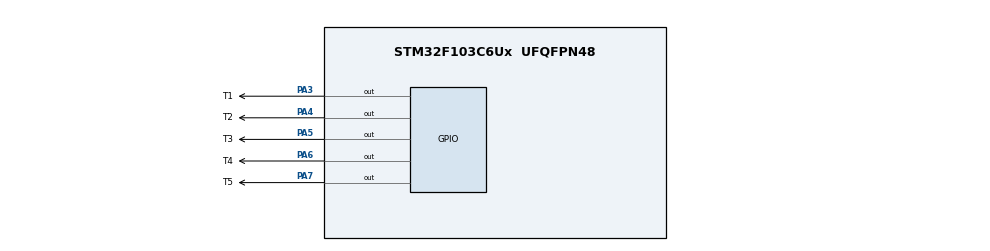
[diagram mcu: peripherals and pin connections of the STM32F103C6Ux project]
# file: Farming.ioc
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Mcu.Family=STM32F1
Mcu.Name=STM32F103C6Ux
Mcu.Package=UFQFPN48
NVIC.PriorityGroup=NVIC_PRIORITYGROUP_4
NVIC.TIM2_IRQn=true\:0\:0\:false\:false\:true\:true\:true
PA3.GPIO_Label=T1
PA3.Signal=GPIO_Output
PA4.GPIO_Label=T2
PA4.Signal=GPIO_Output
PA5.GPIO_Label=T3
PA5.Signal=GPIO_Output
PA6.GPIO_Label=T4
PA6.Signal=GPIO_Output
PA7.GPIO_Label=T5
PA7.Signal=GPIO_Output
ProjectManager.HeapSize=0x200
ProjectManager.StackSize=0x400
ProjectManager.TargetToolchain=STM32CubeIDE
RCC.APB1Freq_Value=8000000
RCC.APB2Freq_Value=8000000
TIM2.Period=9
TIM2.Prescaler=7999
VP_SYS_VS_ND.Mode=No_Debug
VP_TIM2_VS_ClockSourceINT.Mode=Internal
board=custom

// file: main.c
/* USER CODE BEGIN Header */
/**
  ******************************************************************************
  * @file           : main.c
  * @brief          : Main program body
  ******************************************************************************
  * @attention
  *
  * <h2><center>&copy; Copyright (c) 2024 STMicroelectronics.
  * All rights reserved.</center></h2>
  *
  * This software component is licensed by ST under BSD 3-Clause license,
  * the "License"; You may not use this file except in compliance with the
  * License. You may obtain a copy of the License at:
  *                        opensource.org/licenses/BSD-3-Clause
  *
  ******************************************************************************
  */
/* USER CODE END Header */
#include "main.h"

/* USER CODE BEGIN Includes */
#include "scheduler.h"
#include "software_timer.h"
/* USER CODE END Includes */

/* USER CODE BEGIN PD */
#define INIT 0
#define T1 1
#define T2 2
#define T3 3
#define T4 4
#define T5 5
#define IDLE 6
/* USER CODE END PD */

TIM_HandleTypeDef htim2;

/* USER CODE BEGIN PV */
int status = INIT;
/* USER CODE END PV */

void SystemClock_Config(void);
static void MX_GPIO_Init(void);
static void MX_TIM2_Init(void);
/* USER CODE BEGIN PFP */

void clear(){
	HAL_GPIO_WritePin(T1_GPIO_Port, T1_Pin, GPIO_PIN_SET);
	HAL_GPIO_WritePin(T2_GPIO_Port, T2_Pin, GPIO_PIN_SET);
	HAL_GPIO_WritePin(T3_GPIO_Port, T3_Pin, GPIO_PIN_SET);
	HAL_GPIO_WritePin(T4_GPIO_Port, T4_Pin, GPIO_PIN_SET);
	HAL_GPIO_WritePin(T5_GPIO_Port, T5_Pin, GPIO_PIN_SET);
}

void fsm(){
	switch (status){
		case INIT:
				clear();
				status = T1;
				setTimer(0, 5000);
				break;
		case T1:
				HAL_GPIO_WritePin(T1_GPIO_Port, T1_Pin, GPIO_PIN_RESET);
				if (isTimerExpired(0) == 1){
					HAL_GPIO_WritePin(T1_GPIO_Port, T1_Pin, GPIO_PIN_SET);
					status = T2;
					setTimer(0, 5000);
				}
				break;
		case T2:
				HAL_GPIO_WritePin(T2_GPIO_Port, T2_Pin, GPIO_PIN_RESET);
				if (isTimerExpired(0) == 1){
					HAL_GPIO_WritePin(T2_GPIO_Port, T2_Pin, GPIO_PIN_SET);
					status = T3;
					setTimer(0, 5000);
				}
				break;
		case T3:
				HAL_GPIO_WritePin(T3_GPIO_Port, T3_Pin, GPIO_PIN_RESET);
				if (isTimerExpired(0) == 1){
					HAL_GPIO_WritePin(T3_GPIO_Port, T3_Pin, GPIO_PIN_SET);
					status = T4;
					setTimer(0, 10000);
				}
				break;
		case T4:
				HAL_GPIO_WritePin(T4_GPIO_Port, T4_Pin, GPIO_PIN_RESET);
				if (isTimerExpired(0) == 1){
					HAL_GPIO_WritePin(T4_GPIO_Port, T4_Pin, GPIO_PIN_SET);
					status = T5;
					setTimer(0, 30000);
				}
				break;
		case T5:
				HAL_GPIO_WritePin(T5_GPIO_Port, T5_Pin, GPIO_PIN_RESET);
				if (isTimerExpired(0) == 1){
					HAL_GPIO_WritePin(T5_GPIO_Port, T5_Pin, GPIO_PIN_SET);
					status = IDLE;
					setTimer(0, 60000);
				}
				break;
		case IDLE:
				if (isTimerExpired(0) == 1){
					status = T1;
					setTimer(0, 5000);
				}
				break;
		}
}
/* USER CODE END PFP */

int main(void)
{

  /* MCU Configuration--------------------------------------------------------*/

  /* Reset of all peripherals, Initializes the Flash interface and the Systick. */
  HAL_Init();

  /* Configure the system clock */
  SystemClock_Config();

  /* Initialize all configured peripherals */
  MX_GPIO_Init();
  MX_TIM2_Init();
  /* USER CODE BEGIN 2 */
  HAL_TIM_Base_Start_IT (& htim2 ) ;
  /* USER CODE END 2 */

  /* Infinite loop */
  /* USER CODE BEGIN WHILE */

  /* Scheduler Initialization */

  SCH_Add_Task(fsm, 0, 1);

  while (1)
  {
    /* USER CODE END WHILE */
	  SCH_Dispatch_Tasks();
  }
}

void SystemClock_Config(void)
{
  RCC_OscInitTypeDef RCC_OscInitStruct = {0};
  RCC_ClkInitTypeDef RCC_ClkInitStruct = {0};

  /** Initializes the RCC Oscillators according to the specified parameters
  * in the RCC_OscInitTypeDef structure.
  */
  RCC_OscInitStruct.OscillatorType = RCC_OSCILLATORTYPE_HSI;
  RCC_OscInitStruct.HSIState = RCC_HSI_ON;
  RCC_OscInitStruct.HSICalibrationValue = RCC_HSICALIBRATION_DEFAULT;
  RCC_OscInitStruct.PLL.PLLState = RCC_PLL_NONE;
  if (HAL_RCC_OscConfig(&RCC_OscInitStruct) != HAL_OK)
  {
    Error_Handler();
  }
  /** Initializes the CPU, AHB and APB buses clocks
  */
  RCC_ClkInitStruct.ClockType = RCC_CLOCKTYPE_HCLK|RCC_CLOCKTYPE_SYSCLK
                              |RCC_CLOCKTYPE_PCLK1|RCC_CLOCKTYPE_PCLK2;
  RCC_ClkInitStruct.SYSCLKSource = RCC_SYSCLKSOURCE_HSI;
  RCC_ClkInitStruct.AHBCLKDivider = RCC_SYSCLK_DIV1;
  RCC_ClkInitStruct.APB1CLKDivider = RCC_HCLK_DIV1;
  RCC_ClkInitStruct.APB2CLKDivider = RCC_HCLK_DIV1;

  if (HAL_RCC_ClockConfig(&RCC_ClkInitStruct, FLASH_LATENCY_0) != HAL_OK)
  {
    Error_Handler();
  }
}

static void MX_TIM2_Init(void)
{

  TIM_ClockConfigTypeDef sClockSourceConfig = {0};
  TIM_MasterConfigTypeDef sMasterConfig = {0};

  htim2.Instance = TIM2;
  htim2.Init.Prescaler = 7999;
  htim2.Init.CounterMode = TIM_COUNTERMODE_UP;
  htim2.Init.Period = 9;
  htim2.Init.ClockDivision = TIM_CLOCKDIVISION_DIV1;
  htim2.Init.AutoReloadPreload = TIM_AUTORELOAD_PRELOAD_DISABLE;
  if (HAL_TIM_Base_Init(&htim2) != HAL_OK)
  {
    Error_Handler();
  }
  sClockSourceConfig.ClockSource = TIM_CLOCKSOURCE_INTERNAL;
  if (HAL_TIM_ConfigClockSource(&htim2, &sClockSourceConfig) != HAL_OK)
  {
    Error_Handler();
  }
  sMasterConfig.MasterOutputTrigger = TIM_TRGO_RESET;
  sMasterConfig.MasterSlaveMode = TIM_MASTERSLAVEMODE_DISABLE;
  if (HAL_TIMEx_MasterConfigSynchronization(&htim2, &sMasterConfig) != HAL_OK)
  {
    Error_Handler();
  }

}

static void MX_GPIO_Init(void)
{
  GPIO_InitTypeDef GPIO_InitStruct = {0};

  /* GPIO Ports Clock Enable */
  __HAL_RCC_GPIOA_CLK_ENABLE();

  /*Configure GPIO pin Output Level */
  HAL_GPIO_WritePin(GPIOA, T1_Pin|T2_Pin|T3_Pin|T4_Pin
                          |T5_Pin, GPIO_PIN_RESET);

  /*Configure GPIO pins : T1_Pin T2_Pin T3_Pin T4_Pin
                           T5_Pin */
  GPIO_InitStruct.Pin = T1_Pin|T2_Pin|T3_Pin|T4_Pin
                          |T5_Pin;
  GPIO_InitStruct.Mode = GPIO_MODE_OUTPUT_PP;
  GPIO_InitStruct.Pull = GPIO_NOPULL;
  GPIO_InitStruct.Speed = GPIO_SPEED_FREQ_LOW;
  HAL_GPIO_Init(GPIOA, &GPIO_InitStruct);

}

/* USER CODE BEGIN 4 */
	int counter = 100;
	void HAL_TIM_PeriodElapsedCallback ( TIM_HandleTypeDef * htim )
	{
		SCH_Update();
		timerRun();
	}

/* USER CODE END 4 */

void Error_Handler(void)
{
  __disable_irq();
  while (1)
  {
  }
}

/************************ (C) COPYRIGHT STMicroelectronics *****END OF FILE****/
